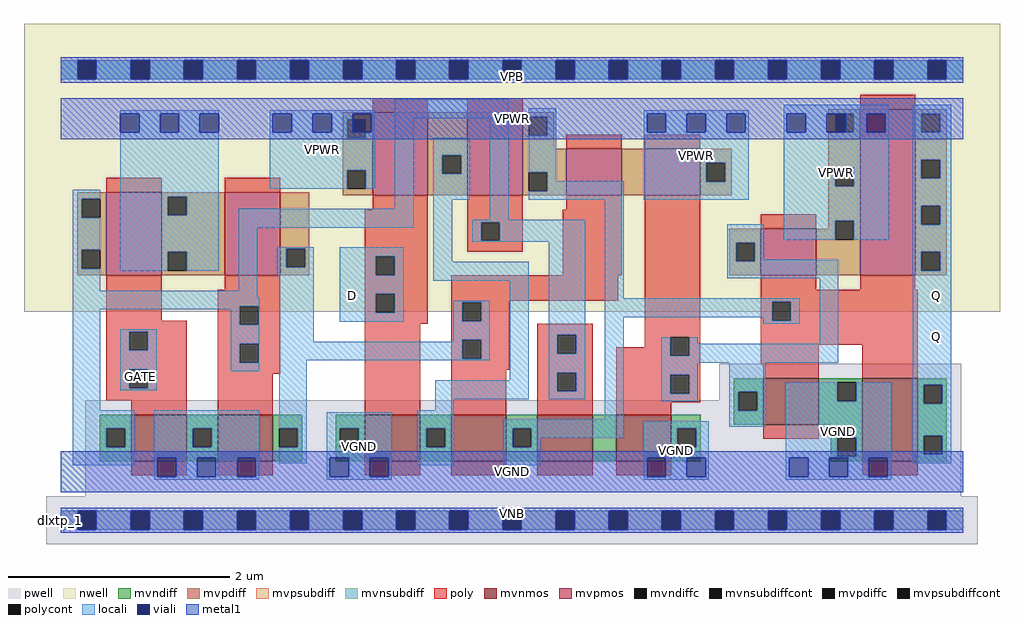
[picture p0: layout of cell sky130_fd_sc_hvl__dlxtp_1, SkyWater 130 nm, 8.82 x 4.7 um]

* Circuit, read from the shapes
.subckt sky130_fd_sc_hvl__dlxtp_1 D GATE VGND VNB VPB VPWR Q
XM1 VGND GATE n1 VNB sky130_fd_pr__nfet_g5v0d10v5 w=0.42 l=0.5
XM2 n2 n1 VGND VNB sky130_fd_pr__nfet_g5v0d10v5 w=0.42 l=0.5
XM3 n3 D VGND VNB sky130_fd_pr__nfet_g5v0d10v5 w=0.42 l=0.5
XM4 n4 n2 n3 VNB sky130_fd_pr__nfet_g5v0d10v5 w=0.42 l=0.5
XM5 n5 n1 n4 VNB sky130_fd_pr__nfet_g5v0d10v5 w=0.42 l=0.5
XM6 VGND n6 n5 VNB sky130_fd_pr__nfet_g5v0d10v5 w=0.42 l=0.5
XM7 VGND n4 n6 VNB sky130_fd_pr__nfet_g5v0d10v5 w=0.42 l=0.5
XM8 Q n4 VGND VNB sky130_fd_pr__nfet_g5v0d10v5 w=0.75 l=0.5
XM9 VPWR GATE n1 VPB sky130_fd_pr__pfet_g5v0d10v5 w=0.75 l=0.5
XM10 n2 n1 VPWR VPB sky130_fd_pr__pfet_g5v0d10v5 w=0.75 l=0.5
XM11 n3 D VPWR VPB sky130_fd_pr__pfet_g5v0d10v5 w=0.75 l=0.5
XM12 n4 n1 n3 VPB sky130_fd_pr__pfet_g5v0d10v5 w=0.75 l=0.5
XM13 n7 n2 n4 VPB sky130_fd_pr__pfet_g5v0d10v5 w=0.42 l=0.5
XM14 VPWR n6 n7 VPB sky130_fd_pr__pfet_g5v0d10v5 w=0.42 l=0.5
XM15 VPWR n4 n6 VPB sky130_fd_pr__pfet_g5v0d10v5 w=0.42 l=0.5
XM16 Q n4 VPWR VPB sky130_fd_pr__pfet_g5v0d10v5 w=1.5 l=0.5
.ends

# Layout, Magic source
magic
tech sky130A
magscale 1 2
<< nwell >>
rect -66 377 1698 897
<< pwell >>
rect 1191 217 1628 283
rect 45 43 1628 217
rect -26 -43 1658 43
<< mvnmos >>
rect 128 107 228 191
rect 284 107 384 191
rect 550 107 650 191
rect 706 107 806 191
rect 862 107 962 191
rect 1004 107 1104 191
rect 1270 173 1370 257
rect 1449 107 1549 257
<< mvpmos >>
rect 83 443 183 593
rect 297 443 397 593
rect 564 587 664 737
rect 735 587 835 737
rect 914 587 1014 671
rect 1056 587 1156 671
rect 1266 443 1366 527
rect 1445 443 1545 743
<< mvndiff >>
rect 1217 232 1270 257
rect 1217 198 1225 232
rect 1259 198 1270 232
rect 71 166 128 191
rect 71 132 83 166
rect 117 132 128 166
rect 71 107 128 132
rect 228 166 284 191
rect 228 132 239 166
rect 273 132 284 166
rect 228 107 284 132
rect 384 166 437 191
rect 384 132 395 166
rect 429 132 437 166
rect 384 107 437 132
rect 497 166 550 191
rect 497 132 505 166
rect 539 132 550 166
rect 497 107 550 132
rect 650 166 706 191
rect 650 132 661 166
rect 695 132 706 166
rect 650 107 706 132
rect 806 166 862 191
rect 806 132 817 166
rect 851 132 862 166
rect 806 107 862 132
rect 962 107 1004 191
rect 1104 166 1157 191
rect 1217 173 1270 198
rect 1370 249 1449 257
rect 1370 215 1404 249
rect 1438 215 1449 249
rect 1370 173 1449 215
rect 1104 132 1115 166
rect 1149 132 1157 166
rect 1392 149 1449 173
rect 1104 107 1157 132
rect 1392 115 1404 149
rect 1438 115 1449 149
rect 1392 107 1449 115
rect 1549 245 1602 257
rect 1549 211 1560 245
rect 1594 211 1602 245
rect 1549 153 1602 211
rect 1549 119 1560 153
rect 1594 119 1602 153
rect 1549 107 1602 119
<< mvpdiff >>
rect 510 725 564 737
rect 510 691 518 725
rect 552 691 564 725
rect 510 633 564 691
rect 510 599 518 633
rect 552 599 564 633
rect 30 581 83 593
rect 30 547 38 581
rect 72 547 83 581
rect 30 489 83 547
rect 30 455 38 489
rect 72 455 83 489
rect 30 443 83 455
rect 183 585 297 593
rect 183 551 194 585
rect 228 551 297 585
rect 183 485 297 551
rect 183 451 194 485
rect 228 451 297 485
rect 183 443 297 451
rect 397 491 450 593
rect 510 587 564 599
rect 664 660 735 737
rect 664 626 690 660
rect 724 626 735 660
rect 664 587 735 626
rect 835 729 892 737
rect 835 695 846 729
rect 880 695 892 729
rect 1388 735 1445 743
rect 1388 701 1400 735
rect 1434 701 1445 735
rect 835 671 892 695
rect 835 629 914 671
rect 835 595 846 629
rect 880 595 914 629
rect 835 587 914 595
rect 1014 587 1056 671
rect 1156 646 1213 671
rect 1156 612 1167 646
rect 1201 612 1213 646
rect 1156 587 1213 612
rect 1388 638 1445 701
rect 1388 604 1400 638
rect 1434 604 1445 638
rect 397 457 408 491
rect 442 457 450 491
rect 397 443 450 457
rect 1388 541 1445 604
rect 1388 527 1400 541
rect 1209 502 1266 527
rect 1209 468 1221 502
rect 1255 468 1266 502
rect 1209 443 1266 468
rect 1366 507 1400 527
rect 1434 507 1445 541
rect 1366 443 1445 507
rect 1545 735 1602 743
rect 1545 701 1556 735
rect 1590 701 1602 735
rect 1545 652 1602 701
rect 1545 618 1556 652
rect 1590 618 1602 652
rect 1545 568 1602 618
rect 1545 534 1556 568
rect 1590 534 1602 568
rect 1545 485 1602 534
rect 1545 451 1556 485
rect 1590 451 1602 485
rect 1545 443 1602 451
<< mvndiffc >>
rect 1225 198 1259 232
rect 83 132 117 166
rect 239 132 273 166
rect 395 132 429 166
rect 505 132 539 166
rect 661 132 695 166
rect 817 132 851 166
rect 1404 215 1438 249
rect 1115 132 1149 166
rect 1404 115 1438 149
rect 1560 211 1594 245
rect 1560 119 1594 153
<< mvpdiffc >>
rect 518 691 552 725
rect 518 599 552 633
rect 38 547 72 581
rect 38 455 72 489
rect 194 551 228 585
rect 194 451 228 485
rect 690 626 724 660
rect 846 695 880 729
rect 1400 701 1434 735
rect 846 595 880 629
rect 1167 612 1201 646
rect 1400 604 1434 638
rect 408 457 442 491
rect 1221 468 1255 502
rect 1400 507 1434 541
rect 1556 701 1590 735
rect 1556 618 1590 652
rect 1556 534 1590 568
rect 1556 451 1590 485
<< mvpsubdiff >>
rect 0 -17 31 17
rect 65 -17 127 17
rect 161 -17 223 17
rect 257 -17 319 17
rect 353 -17 415 17
rect 449 -17 511 17
rect 545 -17 607 17
rect 641 -17 703 17
rect 737 -17 799 17
rect 833 -17 895 17
rect 929 -17 991 17
rect 1025 -17 1087 17
rect 1121 -17 1183 17
rect 1217 -17 1279 17
rect 1313 -17 1375 17
rect 1409 -17 1471 17
rect 1505 -17 1567 17
rect 1601 -17 1632 17
<< mvnsubdiff >>
rect 0 797 31 831
rect 65 797 127 831
rect 161 797 223 831
rect 257 797 319 831
rect 353 797 415 831
rect 449 797 511 831
rect 545 797 607 831
rect 641 797 703 831
rect 737 797 799 831
rect 833 797 895 831
rect 929 797 991 831
rect 1025 797 1087 831
rect 1121 797 1183 831
rect 1217 797 1279 831
rect 1313 797 1375 831
rect 1409 797 1471 831
rect 1505 797 1567 831
rect 1601 797 1632 831
<< mvpsubdiffcont >>
rect 31 -17 65 17
rect 127 -17 161 17
rect 223 -17 257 17
rect 319 -17 353 17
rect 415 -17 449 17
rect 511 -17 545 17
rect 607 -17 641 17
rect 703 -17 737 17
rect 799 -17 833 17
rect 895 -17 929 17
rect 991 -17 1025 17
rect 1087 -17 1121 17
rect 1183 -17 1217 17
rect 1279 -17 1313 17
rect 1375 -17 1409 17
rect 1471 -17 1505 17
rect 1567 -17 1601 17
<< mvnsubdiffcont >>
rect 31 797 65 831
rect 127 797 161 831
rect 223 797 257 831
rect 319 797 353 831
rect 415 797 449 831
rect 511 797 545 831
rect 607 797 641 831
rect 703 797 737 831
rect 799 797 833 831
rect 895 797 929 831
rect 991 797 1025 831
rect 1087 797 1121 831
rect 1183 797 1217 831
rect 1279 797 1313 831
rect 1375 797 1409 831
rect 1471 797 1505 831
rect 1567 797 1601 831
<< poly >>
rect 564 737 664 763
rect 735 737 835 763
rect 1445 743 1545 769
rect 83 593 183 619
rect 297 593 397 619
rect 914 671 1014 697
rect 1056 671 1156 697
rect 564 561 664 587
rect 550 477 664 561
rect 735 539 835 587
rect 914 561 1014 587
rect 735 505 760 539
rect 794 505 835 539
rect 735 485 835 505
rect 550 443 570 477
rect 604 443 664 477
rect 908 443 1014 561
rect 83 361 183 443
rect 297 417 397 443
rect 284 387 397 417
rect 83 341 228 361
rect 83 307 124 341
rect 158 307 228 341
rect 83 273 228 307
rect 83 239 124 273
rect 158 239 228 273
rect 83 217 228 239
rect 128 191 228 217
rect 284 353 324 387
rect 358 353 397 387
rect 284 319 397 353
rect 284 285 324 319
rect 358 285 397 319
rect 284 265 397 285
rect 550 409 664 443
rect 550 375 570 409
rect 604 375 664 409
rect 550 355 664 375
rect 706 397 1008 443
rect 706 394 812 397
rect 706 360 726 394
rect 760 360 812 394
rect 284 191 384 265
rect 550 191 650 355
rect 706 326 812 360
rect 706 292 726 326
rect 760 292 812 326
rect 706 272 812 292
rect 862 335 962 355
rect 862 301 898 335
rect 932 301 962 335
rect 1056 331 1156 587
rect 1266 527 1366 553
rect 1056 313 1102 331
rect 706 191 806 272
rect 862 267 962 301
rect 862 233 898 267
rect 932 233 962 267
rect 862 191 962 233
rect 1004 297 1102 313
rect 1136 297 1156 331
rect 1004 263 1156 297
rect 1266 417 1366 443
rect 1445 417 1545 443
rect 1266 395 1549 417
rect 1266 361 1286 395
rect 1320 361 1549 395
rect 1266 317 1549 361
rect 1266 283 1370 317
rect 1004 229 1102 263
rect 1136 229 1156 263
rect 1270 257 1370 283
rect 1449 257 1549 317
rect 1004 213 1156 229
rect 1004 191 1104 213
rect 1270 147 1370 173
rect 128 81 228 107
rect 284 81 384 107
rect 550 81 650 107
rect 706 81 806 107
rect 862 81 962 107
rect 1004 81 1104 107
rect 1449 81 1549 107
<< polycont >>
rect 760 505 794 539
rect 570 443 604 477
rect 124 307 158 341
rect 124 239 158 273
rect 324 353 358 387
rect 324 285 358 319
rect 570 375 604 409
rect 726 360 760 394
rect 726 292 760 326
rect 898 301 932 335
rect 898 233 932 267
rect 1102 297 1136 331
rect 1286 361 1320 395
rect 1102 229 1136 263
<< locali >>
rect 0 797 31 831
rect 65 797 127 831
rect 161 797 223 831
rect 257 797 319 831
rect 353 797 415 831
rect 449 797 511 831
rect 545 797 607 831
rect 641 797 703 831
rect 737 797 799 831
rect 833 797 895 831
rect 929 797 991 831
rect 1025 797 1087 831
rect 1121 797 1183 831
rect 1217 797 1279 831
rect 1313 797 1375 831
rect 1409 797 1471 831
rect 1505 797 1567 831
rect 1601 797 1632 831
rect 108 735 286 741
rect 142 701 180 735
rect 214 701 252 735
rect 22 581 72 597
rect 22 547 38 581
rect 22 489 72 547
rect 22 455 38 489
rect 22 415 72 455
rect 108 585 286 701
rect 378 735 568 741
rect 378 701 384 735
rect 418 701 456 735
rect 490 725 528 735
rect 490 701 518 725
rect 562 701 568 735
rect 378 691 518 701
rect 552 691 568 701
rect 378 633 568 691
rect 378 599 518 633
rect 552 599 568 633
rect 604 727 810 761
rect 108 551 194 585
rect 228 551 286 585
rect 604 563 638 727
rect 108 485 286 551
rect 108 451 194 485
rect 228 451 286 485
rect 322 529 638 563
rect 674 660 740 691
rect 674 626 690 660
rect 724 626 740 660
rect 674 579 740 626
rect 322 415 356 529
rect 392 491 458 493
rect 392 457 408 491
rect 442 457 458 491
rect 392 439 458 457
rect 22 403 356 415
rect 22 387 359 403
rect 22 381 324 387
rect 22 199 72 381
rect 308 353 324 381
rect 358 353 359 387
rect 108 341 174 345
rect 108 307 124 341
rect 158 307 174 341
rect 108 273 174 307
rect 108 239 124 273
rect 158 239 174 273
rect 308 319 359 353
rect 308 285 324 319
rect 358 285 359 319
rect 308 269 359 285
rect 395 323 458 439
rect 505 477 620 493
rect 505 443 570 477
rect 604 443 620 477
rect 505 409 620 443
rect 674 467 708 579
rect 776 543 810 727
rect 846 729 896 745
rect 880 695 896 729
rect 846 629 896 695
rect 880 613 896 629
rect 1054 735 1244 741
rect 1054 701 1060 735
rect 1094 701 1132 735
rect 1166 701 1204 735
rect 1238 701 1244 735
rect 1054 646 1244 701
rect 880 595 1018 613
rect 846 579 1018 595
rect 1054 612 1167 646
rect 1201 612 1244 646
rect 1054 579 1244 612
rect 1307 735 1497 751
rect 1307 701 1313 735
rect 1347 701 1385 735
rect 1434 701 1457 735
rect 1491 701 1497 735
rect 1307 638 1497 701
rect 1307 604 1400 638
rect 1434 604 1497 638
rect 744 539 948 543
rect 744 505 760 539
rect 794 505 948 539
rect 744 503 948 505
rect 674 433 846 467
rect 505 375 570 409
rect 604 375 620 409
rect 505 359 620 375
rect 710 394 776 397
rect 710 360 726 394
rect 760 360 776 394
rect 710 326 776 360
rect 710 323 726 326
rect 395 292 726 323
rect 760 292 776 326
rect 395 289 776 292
rect 108 235 174 239
rect 22 166 133 199
rect 22 132 83 166
rect 117 132 133 166
rect 22 99 133 132
rect 169 166 359 199
rect 169 132 239 166
rect 273 132 359 166
rect 169 113 359 132
rect 169 79 175 113
rect 209 79 247 113
rect 281 79 319 113
rect 353 79 359 113
rect 395 166 445 289
rect 812 253 846 433
rect 677 219 846 253
rect 882 335 948 503
rect 882 301 898 335
rect 932 301 948 335
rect 882 267 948 301
rect 882 233 898 267
rect 932 233 948 267
rect 882 219 948 233
rect 984 401 1018 579
rect 1307 541 1497 604
rect 1205 502 1271 535
rect 1307 507 1400 541
rect 1434 507 1497 541
rect 1540 735 1610 751
rect 1540 701 1556 735
rect 1590 701 1610 735
rect 1540 652 1610 701
rect 1540 618 1556 652
rect 1590 618 1610 652
rect 1540 568 1610 618
rect 1540 534 1556 568
rect 1590 534 1610 568
rect 1205 468 1221 502
rect 1255 471 1271 502
rect 1540 485 1610 534
rect 1255 468 1406 471
rect 1205 437 1406 468
rect 984 395 1336 401
rect 984 367 1286 395
rect 677 199 711 219
rect 429 132 445 166
rect 395 103 445 132
rect 481 166 599 195
rect 481 132 505 166
rect 539 132 599 166
rect 481 113 599 132
rect 169 73 359 79
rect 481 79 487 113
rect 521 79 559 113
rect 593 79 599 113
rect 645 166 711 199
rect 984 183 1018 367
rect 1270 361 1286 367
rect 1320 361 1336 395
rect 1270 355 1336 361
rect 1086 297 1102 331
rect 1136 319 1152 331
rect 1372 319 1406 437
rect 1136 297 1406 319
rect 1086 285 1406 297
rect 1540 451 1556 485
rect 1590 451 1610 485
rect 1086 263 1152 285
rect 1086 229 1102 263
rect 1136 229 1152 263
rect 1086 215 1152 229
rect 1209 232 1275 285
rect 645 132 661 166
rect 695 132 711 166
rect 645 99 711 132
rect 801 166 1018 183
rect 1209 198 1225 232
rect 1259 198 1275 232
rect 801 132 817 166
rect 851 149 1018 166
rect 1054 166 1172 179
rect 1209 169 1275 198
rect 1311 215 1404 249
rect 1438 215 1501 249
rect 851 132 867 149
rect 801 99 867 132
rect 1054 132 1115 166
rect 1149 132 1172 166
rect 1054 113 1172 132
rect 481 73 599 79
rect 1054 79 1060 113
rect 1094 79 1132 113
rect 1166 79 1172 113
rect 1054 73 1172 79
rect 1311 149 1501 215
rect 1311 115 1404 149
rect 1438 115 1501 149
rect 1311 113 1501 115
rect 1311 79 1317 113
rect 1351 79 1389 113
rect 1423 79 1461 113
rect 1495 79 1501 113
rect 1540 245 1610 451
rect 1540 211 1560 245
rect 1594 211 1610 245
rect 1540 153 1610 211
rect 1540 119 1560 153
rect 1594 119 1610 153
rect 1540 103 1610 119
rect 1311 73 1501 79
rect 0 -17 31 17
rect 65 -17 127 17
rect 161 -17 223 17
rect 257 -17 319 17
rect 353 -17 415 17
rect 449 -17 511 17
rect 545 -17 607 17
rect 641 -17 703 17
rect 737 -17 799 17
rect 833 -17 895 17
rect 929 -17 991 17
rect 1025 -17 1087 17
rect 1121 -17 1183 17
rect 1217 -17 1279 17
rect 1313 -17 1375 17
rect 1409 -17 1471 17
rect 1505 -17 1567 17
rect 1601 -17 1632 17
<< viali >>
rect 31 797 65 831
rect 127 797 161 831
rect 223 797 257 831
rect 319 797 353 831
rect 415 797 449 831
rect 511 797 545 831
rect 607 797 641 831
rect 703 797 737 831
rect 799 797 833 831
rect 895 797 929 831
rect 991 797 1025 831
rect 1087 797 1121 831
rect 1183 797 1217 831
rect 1279 797 1313 831
rect 1375 797 1409 831
rect 1471 797 1505 831
rect 1567 797 1601 831
rect 108 701 142 735
rect 180 701 214 735
rect 252 701 286 735
rect 384 701 418 735
rect 456 701 490 735
rect 528 725 562 735
rect 528 701 552 725
rect 552 701 562 725
rect 1060 701 1094 735
rect 1132 701 1166 735
rect 1204 701 1238 735
rect 1313 701 1347 735
rect 1385 701 1400 735
rect 1400 701 1419 735
rect 1457 701 1491 735
rect 175 79 209 113
rect 247 79 281 113
rect 319 79 353 113
rect 487 79 521 113
rect 559 79 593 113
rect 1060 79 1094 113
rect 1132 79 1166 113
rect 1317 79 1351 113
rect 1389 79 1423 113
rect 1461 79 1495 113
rect 31 -17 65 17
rect 127 -17 161 17
rect 223 -17 257 17
rect 319 -17 353 17
rect 415 -17 449 17
rect 511 -17 545 17
rect 607 -17 641 17
rect 703 -17 737 17
rect 799 -17 833 17
rect 895 -17 929 17
rect 991 -17 1025 17
rect 1087 -17 1121 17
rect 1183 -17 1217 17
rect 1279 -17 1313 17
rect 1375 -17 1409 17
rect 1471 -17 1505 17
rect 1567 -17 1601 17
<< metal1 >>
rect 0 831 1632 837
rect 0 797 31 831
rect 65 797 127 831
rect 161 797 223 831
rect 257 797 319 831
rect 353 797 415 831
rect 449 797 511 831
rect 545 797 607 831
rect 641 797 703 831
rect 737 797 799 831
rect 833 797 895 831
rect 929 797 991 831
rect 1025 797 1087 831
rect 1121 797 1183 831
rect 1217 797 1279 831
rect 1313 797 1375 831
rect 1409 797 1471 831
rect 1505 797 1567 831
rect 1601 797 1632 831
rect 0 791 1632 797
rect 0 735 1632 763
rect 0 701 108 735
rect 142 701 180 735
rect 214 701 252 735
rect 286 701 384 735
rect 418 701 456 735
rect 490 701 528 735
rect 562 701 1060 735
rect 1094 701 1132 735
rect 1166 701 1204 735
rect 1238 701 1313 735
rect 1347 701 1385 735
rect 1419 701 1457 735
rect 1491 701 1632 735
rect 0 689 1632 701
rect 0 113 1632 125
rect 0 79 175 113
rect 209 79 247 113
rect 281 79 319 113
rect 353 79 487 113
rect 521 79 559 113
rect 593 79 1060 113
rect 1094 79 1132 113
rect 1166 79 1317 113
rect 1351 79 1389 113
rect 1423 79 1461 113
rect 1495 79 1632 113
rect 0 51 1632 79
rect 0 17 1632 23
rect 0 -17 31 17
rect 65 -17 127 17
rect 161 -17 223 17
rect 257 -17 319 17
rect 353 -17 415 17
rect 449 -17 511 17
rect 545 -17 607 17
rect 641 -17 703 17
rect 737 -17 799 17
rect 833 -17 895 17
rect 929 -17 991 17
rect 1025 -17 1087 17
rect 1121 -17 1183 17
rect 1217 -17 1279 17
rect 1313 -17 1375 17
rect 1409 -17 1471 17
rect 1505 -17 1567 17
rect 1601 -17 1632 17
rect 0 -23 1632 -17
<< labels >>
rlabel comment s 0 0 0 0 4 dlxtp_1
flabel metal1 s 0 51 1632 125 0 FreeSans 340 0 0 0 VGND
port 3 nsew ground bidirectional
flabel metal1 s 0 0 1632 23 0 FreeSans 340 0 0 0 VNB
port 4 nsew ground bidirectional
flabel metal1 s 0 689 1632 763 0 FreeSans 340 0 0 0 VPWR
port 6 nsew power bidirectional
flabel metal1 s 0 791 1632 814 0 FreeSans 340 0 0 0 VPB
port 5 nsew power bidirectional
flabel locali s 511 390 545 424 0 FreeSans 340 0 0 0 D
port 1 nsew signal input
flabel locali s 127 242 161 276 0 FreeSans 340 0 0 0 GATE
port 2 nsew clock input
flabel locali s 1567 316 1601 350 0 FreeSans 340 0 0 0 Q
port 7 nsew signal output
flabel locali s 1567 390 1601 424 0 FreeSans 340 0 0 0 Q
port 7 nsew signal output
rlabel locali s 481 73 599 195 1 VGND
port 3 nsew ground bidirectional
rlabel locali s 1054 73 1172 179 1 VGND
port 3 nsew ground bidirectional
rlabel locali s 1311 73 1501 249 1 VGND
port 3 nsew ground bidirectional
rlabel metal1 s 0 51 1632 125 1 VGND
port 3 nsew ground bidirectional
rlabel metal1 s 0 -23 1632 23 1 VNB
port 4 nsew ground bidirectional
rlabel metal1 s 0 791 1632 837 1 VPB
port 5 nsew power bidirectional
rlabel locali s 378 599 568 741 1 VPWR
port 6 nsew power bidirectional
rlabel locali s 1054 579 1244 741 1 VPWR
port 6 nsew power bidirectional
rlabel locali s 1307 507 1497 751 1 VPWR
port 6 nsew power bidirectional
rlabel metal1 s 0 689 1632 763 1 VPWR
port 6 nsew power bidirectional
<< properties >>
string FIXED_BBOX 0 0 1632 814
string GDS_END 1220156
string GDS_FILE $PDKPATH/libs.ref/sky130_fd_sc_hvl/gds/sky130_fd_sc_hvl.gds
string GDS_START 1203716
string LEFclass CORE
string LEFsite unithv
string LEFsymmetry X Y
<< end >>
